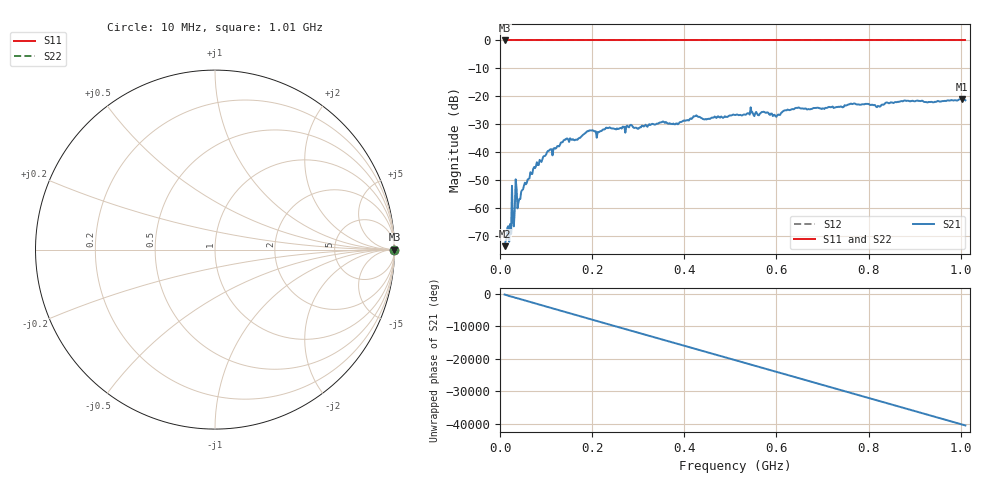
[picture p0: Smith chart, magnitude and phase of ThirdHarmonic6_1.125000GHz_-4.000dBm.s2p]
! 8/16/2025 10:52:00 AM
! C:\ANRITSUVNA\TEMP\TEMP.S2P
! CHANNEL.1
! TR.MEASUREMENT
! RAW.DATA
! RF.CORRECTION.OFF
! AVERAGING.OFF
! IF.BANDWIDTH: 5KHZ
! SWEEPTYPE:  FREQ.SWEEP(Linear)
! Reference Plane Port Info
! PORT:  PORT1  PORT2
! DISTANCE:  0  m  0  m
! TIME:  0  s  0  s
! PHASE.OFFSET:  0  deg.  0  deg.
! LOSS:  0  dB  0  dB
! REF.LOSS:  0  dB  0  dB
! REF.FREQ:  0  Hz  0  Hz
! Power Info
! POWER:  -20  dBm  -20  dBm
! EFF.POWER:  -20  dBm  -20  dBm
! SOURCE.ATTEN:  0  dB  0  dB
! TEST.ATTEN:  0  dB  0  dB
# GHZ S RI R 50.0
! FREQ.GHZ  S11RE  S11IM  S21RE  S21IM  S12RE  S12IM  S22RE  S22IM
!; PortSelection: Port_12
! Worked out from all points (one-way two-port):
!   501 points, 10 MHz to 1.01 GHz, reference 50 ohm
!   highest |S21| = -20.97 dB at 1.002 GHz (marker M1); lowest = -73.7 dB at 10 MHz (marker M2)
!   lowest |S11| = 0.0 dB at 10 MHz (marker M3)
!   |S11| at or under -10 dB: nowhere
!   |S22| runs from 0.0 to 0.0 dB; largest |S21 - S12| = 1.1
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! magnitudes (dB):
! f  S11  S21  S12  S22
! 10 MHz  0.0  -73.7  0.0  0.0
! 28 MHz  0.0  -64.8  0.0  0.0
! 30 MHz  0.0  -66.6  0.0  0.0
! 38 MHz  0.0  -60.1  0.0  0.0
! 42 MHz  0.0  -56.7  0.0  0.0
! 50 MHz  0.0  -53.3  0.0  0.0
! 76 MHz  0.0  -45.7  0.0  0.0
! 106 MHz  0.0  -39.5  0.0  0.0
! 142 MHz  0.0  -35.6  0.0  0.0
! 178 MHz  0.0  -34.2  0.0  0.0
! 196 MHz  0.0  -32.2  0.0  0.0
! 214 MHz  0.0  -32.8  0.0  0.0
! 234 MHz  0.0  -31.4  0.0  0.0
! 344 MHz  0.0  -29.7  0.0  0.0
! 510 MHz  0.0  -26.7  0.0  0.0
! 572 MHz  0.0  -25.5  0.0  0.0
! 596 MHz  0.0  -26.6  0.0  0.0
! 644 MHz  0.0  -24.2  0.0  0.0
! 678 MHz  0.0  -24.4  0.0  0.0
! 844 MHz  0.0  -22.5  0.0  0.0
! 1.002 GHz  0.0  -21.0  0.0  0.0
! 1.01 GHz  0.0  -21.4  0.0  0.0
